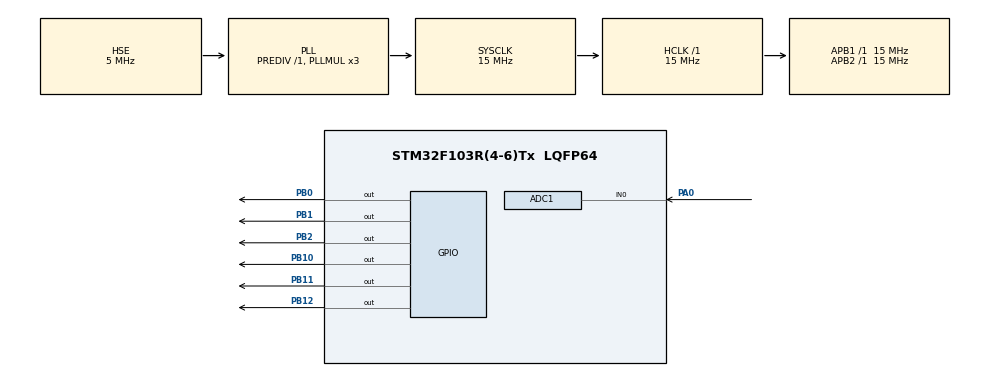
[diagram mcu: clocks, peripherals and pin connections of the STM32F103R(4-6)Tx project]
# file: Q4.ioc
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ADC1.Channel-0\#ChannelRegularConversion=ADC_CHANNEL_0
ADC1.ContinuousConvMode=ENABLE
ADC1.NbrOfConversionFlag=1
ADC1.Rank-0\#ChannelRegularConversion=1
ADC1.SamplingTime-0\#ChannelRegularConversion=ADC_SAMPLETIME_1CYCLE_5
ADC1.master=1
Mcu.Family=STM32F1
Mcu.Name=STM32F103R(4-6)Tx
Mcu.Package=LQFP64
NVIC.PriorityGroup=NVIC_PRIORITYGROUP_4
PA0-WKUP.Signal=ADCx_IN0
PB0.Signal=GPIO_Output
PB1.Signal=GPIO_Output
PB10.Signal=GPIO_Output
PB11.Signal=GPIO_Output
PB12.Signal=GPIO_Output
PB2.Signal=GPIO_Output
PD0-OSC_IN.Mode=HSE-External-Oscillator
PD0-OSC_IN.Signal=RCC_OSC_IN
PD1-OSC_OUT.Mode=HSE-External-Oscillator
PD1-OSC_OUT.Signal=RCC_OSC_OUT
ProjectManager.HeapSize=0x200
ProjectManager.StackSize=0x400
ProjectManager.TargetToolchain=STM32CubeIDE
RCC.AHBFreq_Value=15000000
RCC.APB1Freq_Value=15000000
RCC.APB1TimFreq_Value=15000000
RCC.APB2Freq_Value=15000000
RCC.APB2TimFreq_Value=15000000
RCC.HCLKFreq_Value=15000000
RCC.HSE_VALUE=5000000
RCC.PLLMUL=RCC_PLL_MUL3
RCC.PLLSourceVirtual=RCC_PLLSOURCE_HSE
RCC.SYSCLKFreq_VALUE=15000000
RCC.SYSCLKSource=RCC_SYSCLKSOURCE_PLLCLK
RCC.USBFreq_Value=15000000
SH.ADCx_IN0.0=ADC1_IN0,IN0
VP_SYS_VS_ND.Mode=No_Debug
board=custom

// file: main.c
/* USER CODE BEGIN Header */
/**
  ******************************************************************************
  * @file           : main.c
  * @brief          : Main program body
  ******************************************************************************
  * @attention
  *
  * Copyright (c) 2026 STMicroelectronics.
  * All rights reserved.
  *
  * This software is licensed under terms that can be found in the LICENSE file
  * in the root directory of this software component.
  * If no LICENSE file comes with this software, it is provided AS-IS.
  *
  ******************************************************************************
  */
/* USER CODE END Header */
#include "main.h"

/* USER CODE BEGIN Includes */
#include <stdio.h>
#include "lcd.h"
/* USER CODE END Includes */

ADC_HandleTypeDef hadc1;

/* USER CODE BEGIN PV */
Lcd_PortType port[] = {GPIOB, GPIOB, GPIOB, GPIOB};
Lcd_PinType pin[] = {GPIO_PIN_0, GPIO_PIN_1, GPIO_PIN_2, GPIO_PIN_10};
Lcd_PortType rs_port = GPIOB;
Lcd_PinType rs_pin = GPIO_PIN_11;
Lcd_PortType e_port = GPIOB;
Lcd_PinType e_pin = GPIO_PIN_12;

/* USER CODE END PV */

void SystemClock_Config(void);
static void MX_GPIO_Init(void);
static void MX_ADC1_Init(void);

int main(void)
{

  /* MCU Configuration--------------------------------------------------------*/

  /* Reset of all peripherals, Initializes the Flash interface and the Systick. */
  HAL_Init();

  /* Configure the system clock */
  SystemClock_Config();

  /* Initialize all configured peripherals */
  MX_GPIO_Init();
  MX_ADC1_Init();
  /* USER CODE BEGIN 2 */
  Lcd_HandleTypeDef lcd;

    lcd = Lcd_create(port, pin, rs_port, rs_pin, e_port, e_pin, LCD_4_BIT_MODE);
    Lcd_init(&lcd);

    Lcd_cursor(&lcd, 0, 0);
    Lcd_string(&lcd, "WE ARE READY");
    HAL_ADC_Start(&hadc1);
  /* USER CODE END 2 */

    /* Infinite loop */
      /* USER CODE BEGIN WHILE */
        /* Infinite loop */
          /* USER CODE BEGIN WHILE */
          while (1)
          {
            /* USER CODE END WHILE */

            /* USER CODE BEGIN 3 */
              uint32_t val_afc = HAL_ADC_GetValue(&hadc1);
              float voltage = (float)val_afc * 3.3 / 4095;
              float val_sen = 0;
              char firstline[20];
              char secondline[20];

                    if (voltage >= 0.0 && voltage < 1.0)
                    {
                        val_sen = voltage * 100.0;
                        sprintf(firstline, "sensor: LM35    ");
                        sprintf(secondline, "val: %d.%02d C    ", (int)val_sen, (int)(val_sen * 100) % 100);
                    }
                    else if (voltage >= 1.0 && voltage < 2.0)
                    {
                        val_sen = voltage * 33.3;
                        sprintf(firstline, "sensor: HIH-4000");
                        sprintf(secondline, "val: %d.%02d %%    ", (int)val_sen, (int)(val_sen * 100) % 100);
                    }
                    else if (voltage >= 2.0 && voltage < 3.0)
                    {
                        val_sen = voltage * 100.0;
                        sprintf(firstline, "sensor: MPX4115 ");
                        sprintf(secondline, "val: %d.%02d hPa  ", (int)val_sen, (int)(val_sen * 100) % 100);
                    }
                    else if (voltage >= 3.0 && voltage <= 3.3)
                    {
                        val_sen = voltage * (100.0 / 3.3);
                        sprintf(firstline, "sensor: MQ-135  ");
                        sprintf(secondline, "val: %d.%02d %%    ", (int)val_sen, (int)(val_sen * 100) % 100);
                    }
              Lcd_cursor(&lcd, 0, 0);
              Lcd_string(&lcd, firstline);
              Lcd_cursor(&lcd, 1, 0);
              Lcd_string(&lcd, secondline);

              HAL_Delay(50);
          }
          /* USER CODE END 3 */
    }
void SystemClock_Config(void)
{
  RCC_OscInitTypeDef RCC_OscInitStruct = {0};
  RCC_ClkInitTypeDef RCC_ClkInitStruct = {0};
  RCC_PeriphCLKInitTypeDef PeriphClkInit = {0};

  /** Initializes the RCC Oscillators according to the specified parameters
  * in the RCC_OscInitTypeDef structure.
  */
  RCC_OscInitStruct.OscillatorType = RCC_OSCILLATORTYPE_HSE;
  RCC_OscInitStruct.HSEState = RCC_HSE_ON;
  RCC_OscInitStruct.HSEPredivValue = RCC_HSE_PREDIV_DIV1;
  RCC_OscInitStruct.HSIState = RCC_HSI_ON;
  RCC_OscInitStruct.PLL.PLLState = RCC_PLL_ON;
  RCC_OscInitStruct.PLL.PLLSource = RCC_PLLSOURCE_HSE;
  RCC_OscInitStruct.PLL.PLLMUL = RCC_PLL_MUL3;
  if (HAL_RCC_OscConfig(&RCC_OscInitStruct) != HAL_OK)
  {
    Error_Handler();
  }

  /** Initializes the CPU, AHB and APB buses clocks
  */
  RCC_ClkInitStruct.ClockType = RCC_CLOCKTYPE_HCLK|RCC_CLOCKTYPE_SYSCLK
                              |RCC_CLOCKTYPE_PCLK1|RCC_CLOCKTYPE_PCLK2;
  RCC_ClkInitStruct.SYSCLKSource = RCC_SYSCLKSOURCE_PLLCLK;
  RCC_ClkInitStruct.AHBCLKDivider = RCC_SYSCLK_DIV1;
  RCC_ClkInitStruct.APB1CLKDivider = RCC_HCLK_DIV1;
  RCC_ClkInitStruct.APB2CLKDivider = RCC_HCLK_DIV1;

  if (HAL_RCC_ClockConfig(&RCC_ClkInitStruct, FLASH_LATENCY_0) != HAL_OK)
  {
    Error_Handler();
  }
  PeriphClkInit.PeriphClockSelection = RCC_PERIPHCLK_ADC;
  PeriphClkInit.AdcClockSelection = RCC_ADCPCLK2_DIV2;
  if (HAL_RCCEx_PeriphCLKConfig(&PeriphClkInit) != HAL_OK)
  {
    Error_Handler();
  }
}

static void MX_ADC1_Init(void)
{

  ADC_ChannelConfTypeDef sConfig = {0};

  /** Common config
  */
  hadc1.Instance = ADC1;
  hadc1.Init.ScanConvMode = ADC_SCAN_DISABLE;
  hadc1.Init.ContinuousConvMode = ENABLE;
  hadc1.Init.DiscontinuousConvMode = DISABLE;
  hadc1.Init.ExternalTrigConv = ADC_SOFTWARE_START;
  hadc1.Init.DataAlign = ADC_DATAALIGN_RIGHT;
  hadc1.Init.NbrOfConversion = 1;
  if (HAL_ADC_Init(&hadc1) != HAL_OK)
  {
    Error_Handler();
  }

  /** Configure Regular Channel
  */
  sConfig.Channel = ADC_CHANNEL_0;
  sConfig.Rank = ADC_REGULAR_RANK_1;
  sConfig.SamplingTime = ADC_SAMPLETIME_1CYCLE_5;
  if (HAL_ADC_ConfigChannel(&hadc1, &sConfig) != HAL_OK)
  {
    Error_Handler();
  }

}

static void MX_GPIO_Init(void)
{
  GPIO_InitTypeDef GPIO_InitStruct = {0};

  /* GPIO Ports Clock Enable */
  __HAL_RCC_GPIOD_CLK_ENABLE();
  __HAL_RCC_GPIOA_CLK_ENABLE();
  __HAL_RCC_GPIOB_CLK_ENABLE();

  /*Configure GPIO pin Output Level */
  HAL_GPIO_WritePin(GPIOB, GPIO_PIN_0|GPIO_PIN_1|GPIO_PIN_2|GPIO_PIN_10
                          |GPIO_PIN_11|GPIO_PIN_12, GPIO_PIN_RESET);

  /*Configure GPIO pins : PB0 PB1 PB2 PB10
                           PB11 PB12 */
  GPIO_InitStruct.Pin = GPIO_PIN_0|GPIO_PIN_1|GPIO_PIN_2|GPIO_PIN_10
                          |GPIO_PIN_11|GPIO_PIN_12;
  GPIO_InitStruct.Mode = GPIO_MODE_OUTPUT_PP;
  GPIO_InitStruct.Pull = GPIO_NOPULL;
  GPIO_InitStruct.Speed = GPIO_SPEED_FREQ_LOW;
  HAL_GPIO_Init(GPIOB, &GPIO_InitStruct);

}

void Error_Handler(void)
{
  __disable_irq();
  while (1)
  {
  }
}
